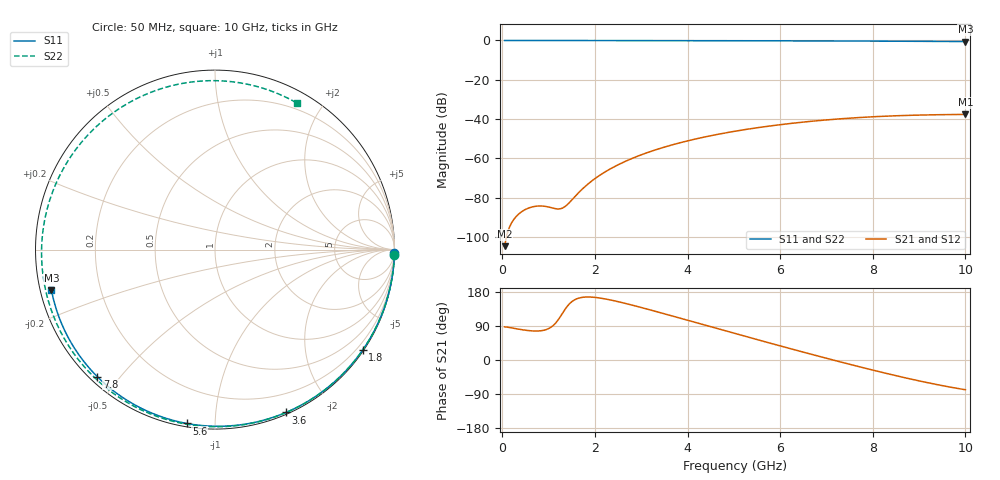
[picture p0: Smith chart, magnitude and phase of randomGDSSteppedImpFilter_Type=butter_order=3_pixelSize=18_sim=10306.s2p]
! freq	dB(S11)	phase(S11)	dB(S12)	phase(S12)
!  dB(S21)	phase(S21)	dB(S22)	phase(S22)
!S-par simulation data
#  GHz  S  DB  R 50
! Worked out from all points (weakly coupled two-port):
!   200 points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, 50 MHz to 10 GHz, reference 50 ohm
!   highest |S21| = -37.64 dB at 10 GHz (marker M1); lowest = -104.7 dB at 50 MHz (marker M2)
!   lowest |S11| = -0.5 dB at 10 GHz (marker M3), VSWR 31.63, Z = 1.6 - j6.1 ohm
!   |S11| at or under -10 dB: nowhere
!   |S22| runs from -0.6 to 0.0 dB; largest |S21 - S12| = 0
!   S11 on the Smith chart (normalised r, x): 50 MHz: open; 1.8 GHz: 0.03, -3.25; 3.6 GHz: 0.02, -1.53; 5.6 GHz: 0.02, -0.85; 7.8 GHz: 0.02, -0.44; 10 GHz: 0.03, -0.12
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0.05  -0.00 -1.0  -104.69 87.4  -104.69 87.4  -0.00 -1.6
0.75  -0.02 -14.4  -84.31 76.5  -84.31 76.5  -0.03 -24.2
1.55  -0.04 -29.5  -79.91 158.0  -79.91 158.0  -0.06 -49.3
1.75  -0.04 -33.3  -75.14 165.7  -75.14 165.7  -0.07 -55.4
1.8  -0.04 -34.2  -74.08 166.2  -74.08 166.2  -0.07 -56.9
2.1  -0.05 -39.7  -68.69 163.7  -68.69 163.7  -0.08 -66.0
2.45  -0.06 -46.1  -63.88 155.4  -63.88 155.4  -0.09 -76.3
2.9  -0.07 -54.2  -59.12 141.8  -59.12 141.8  -0.11 -89.4
3.4  -0.08 -62.9  -54.99 125.3  -54.99 125.3  -0.13 -103.5
3.6  -0.09 -66.4  -53.59 118.6  -53.59 118.6  -0.14 -109.0
4.3  -0.11 -78.3  -49.48 94.7  -49.48 94.7  -0.17 -128.1
5.05  -0.14 -90.5  -46.09 69.1  -46.09 69.1  -0.22 -148.3
5.6  -0.16 -99.3  -44.10 50.6  -44.10 50.6  -0.25 -163.1
6.15  -0.19 -107.9  -42.44 32.2  -42.44 32.2  -0.29 -178.1
6.7  -0.23 -116.3  -41.08 14.2  -41.08 14.2  -0.33 166.4
7.25  -0.26 -124.6  -39.97 -3.4  -39.97 -3.4  -0.38 150.5
7.8  -0.31 -132.8  -39.10 -20.6  -39.10 -20.6  -0.43 133.8
8.35  -0.36 -141.0  -38.46 -37.0  -38.46 -37.0  -0.47 116.5
8.8  -0.41 -147.8  -38.10 -49.7  -38.10 -49.7  -0.50 101.7
9.2  -0.45 -153.8  -37.88 -60.3  -37.88 -60.3  -0.53 88.3
9.6  -0.50 -159.9  -37.73 -70.0  -37.73 -70.0  -0.56 74.6
10  -0.55 -166.1  -37.64 -78.5  -37.64 -78.5  -0.58 60.8
